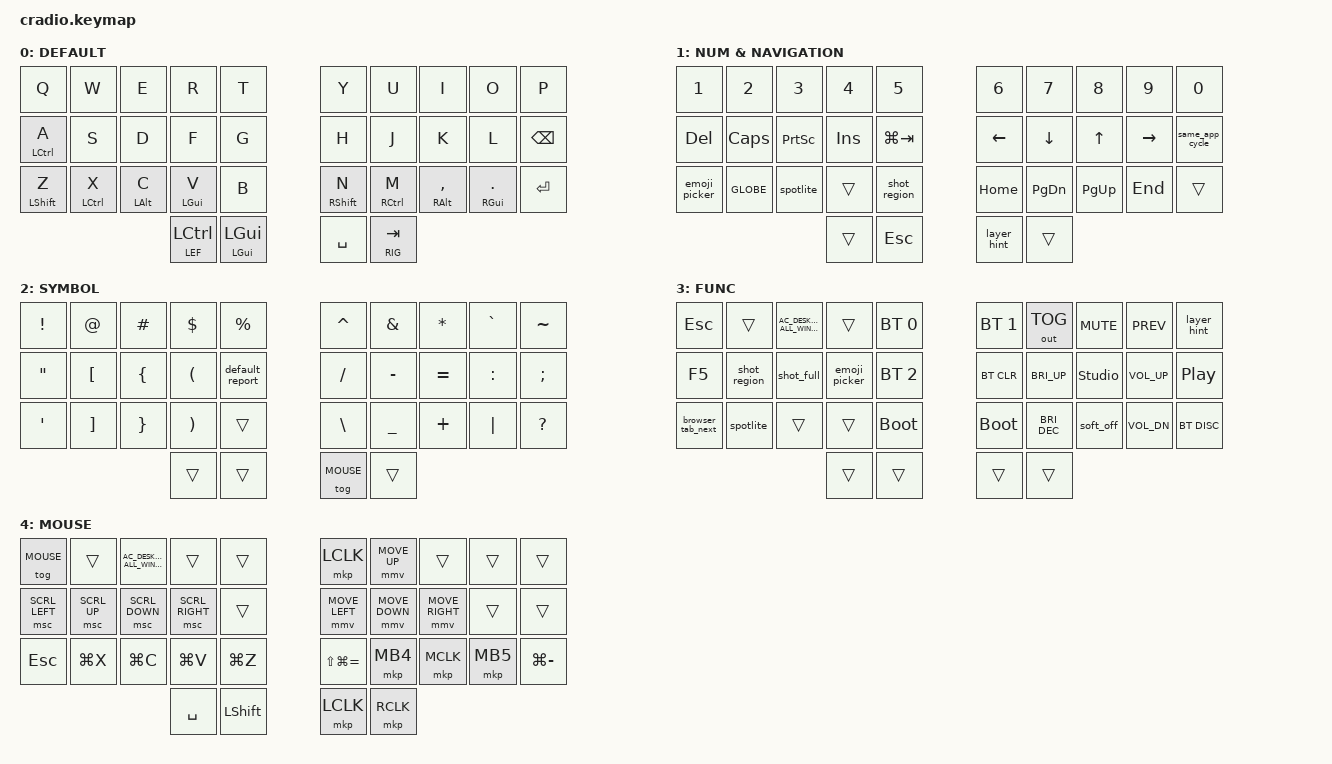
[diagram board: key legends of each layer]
// Copyright (c) 2022 The ZMK Contributors
// SPDX-License-Identifier: MIT

#define ZMK_POINTING_DEFAULT_MOVE_VAL 1000
#define ZMK_POINTING_DEFAULT_SCRL_VAL 20

#include <behaviors.dtsi>
#include "behaviors/character_map.dtsi"
#include "behaviors/send_string.dtsi"
#include "behaviors/report.dtsi"
#include <dt-bindings/zmk/bt.h>
#include <dt-bindings/zmk/keys.h>
#include <dt-bindings/zmk/outputs.h>
#include <dt-bindings/zmk/pointing.h>

#define MAC 0
#define RIG 1
#define LEF 2
#define TRI 3
#define MOUSE 4

// https://zmk.dev/docs/development/hardware-integration/soft-off-setup?advanced-methods=wakeup&kscan-type=dkscan
/ {
    keys {
        compatible = "gpio-keys";
        soft_off_gpio_key: soft_off_gpio_key {
            gpios = <&gpio1 6 (GPIO_ACTIVE_LOW | GPIO_PULL_UP)>;
        };
    };
    wakeup_scan: wakeup_scan {
        compatible = "zmk,kscan-gpio-direct";
        input-keys = <&soft_off_gpio_key>;
        wakeup-source;
    };
    side_band_behavior_triggers: side_band_behavior_triggers {
        compatible = "zmk,kscan-sideband-behaviors";
        kscan = <&wakeup_scan>;
        auto-enable;
        wakeup-source;
    };
    soft_off_wakers {
        compatible = "zmk,soft-off-wakeup-sources";
        wakeup-sources = <&wakeup_scan>;
    };
};

/ {
    vbatt: vbatt {
        compatible = "zmk,battery-nrf-vddh";
    };
    chosen {
        zmk,charmap = &charmap_us;
        zmk,battery = &vbatt;
    };
    behaviors {
        ht: hold_tap {
            display-name = "hold_tap";
            compatible = "zmk,behavior-hold-tap";
            #binding-cells = <2>;
            flavor = "balanced";
            tapping-term-ms = <175>;
            quick-tap-ms = <140>;
            bindings = <&kp>, <&kp>;
        };
        ht_tp: hold_tap_tap_pref {
            display-name = "hold_tap_tap_pref";
            compatible = "zmk,behavior-hold-tap";
            #binding-cells = <2>;
            flavor = "tap-unless-interrupted";
            tapping-term-ms = <90>;
            quick-tap-ms = <75>;
            bindings = <&kp>, <&kp>;
        };
        ltt: layer_tab_thumb {
            compatible = "zmk,behavior-hold-tap";
            #binding-cells = <2>;
            flavor = "tap-preferred";
            tapping-term-ms = <95>;
            quick-tap-ms = <80>;
            bindings = <&mo>, <&kp>;
        };
        ltt_rig: layer_tab_thumb_right {
            compatible = "zmk,behavior-hold-tap";
            #binding-cells = <2>;
            flavor = "balanced";
            tapping-term-ms = <190>;
            quick-tap-ms = <130>;
            bindings = <&mo>, <&kp>;
        };
        shot_full: shot_full {
            compatible = "zmk,behavior-macro";
            #binding-cells = <0>;
            wait-ms = <5>;
            tap-ms = <5>;
            bindings = <&macro_press &kp LSHIFT &macro_press &kp LGUI &macro_tap &kp N3 &macro_release &kp LGUI &macro_release &kp LSHIFT>;
        };
        shot_region: shot_region {
            compatible = "zmk,behavior-macro";
            #binding-cells = <0>;
            wait-ms = <5>;
            tap-ms = <5>;
            bindings = <&macro_press &kp LSHIFT &macro_press &kp LGUI &macro_tap &kp N4 &macro_release &kp LGUI &macro_release &kp LSHIFT>;
        };
        spotlite: spotlite {
            compatible = "zmk,behavior-macro";
            #binding-cells = <0>;
            wait-ms = <5>;
            tap-ms = <5>;
            bindings = <&macro_press &kp LGUI &macro_tap &kp SPACE &macro_release &kp LGUI>;
        };
        emoji_picker: emoji_picker {
            compatible = "zmk,behavior-macro";
            #binding-cells = <0>;
            wait-ms = <5>;
            tap-ms = <5>;
            bindings = <&macro_press &kp LCTRL &macro_press &kp LGUI &macro_tap &kp SPACE &macro_release &kp LGUI &macro_release &kp LCTRL>;
        };
        browser_tab_next: browser_tab_next {
            compatible = "zmk,behavior-macro";
            #binding-cells = <0>;
            wait-ms = <5>;
            tap-ms = <5>;
            bindings = <&macro_press &kp LCTRL &macro_tap &kp TAB &macro_release &kp LCTRL>;
        };
        same_app_cycle: same_app_cycle {
            compatible = "zmk,behavior-macro";
            #binding-cells = <0>;
            wait-ms = <5>;
            tap-ms = <5>;
            bindings = <&macro_press &kp LGUI &macro_tap &kp GRAVE &macro_release &kp LGUI>;
        };
        layer_hint: layer_hint {
            compatible = "zmk,behavior-macro";
            #binding-cells = <0>;
            wait-ms = <5>;
            tap-ms = <5>;
            bindings = <&macro_press &kp LCTRL &macro_press &kp LALT &macro_tap &kp H &macro_release &kp LALT &macro_release &kp LCTRL>;
        };
        mmv {
            acceleration-exponent = <0>;
            time-to-max-speed-ms = <380>;
            delay-ms = <0>;
        };
        msc {
            acceleration-exponent = <1>;
            time-to-max-speed-ms = <280>;
            delay-ms = <0>;
        };
    };

    conditional_layers {
        compatible = "zmk,conditional-layers";

        tri_layer {
            if-layers = <LEF RIG>;
            then-layer = <TRI>;
        };
    };

    /* FUNC/tri: outer thumbs 15+32 (Tab/LEF + Tab/RIG). Inner thumbs are separate LGUI and SPACE — they do not participate in LEF+RIG stacking. */
    combos {
        compatible = "zmk,combos";

        tri_outer_thumbs {
            timeout-ms = <180>;
            key-positions = <15 32>;
            bindings = <&mo 3>;
            layers = <0>;
        };
    };

    /*
     * layer_hint sends Ctrl+Alt+H. ZMK cannot draw on screen; pair with macOS Shortcuts:
     * Shortcuts app -> new shortcut -> Open File or Show Notification -> assign shortcut Ctrl+Alt+H.
     * Or use ZMK Studio (&studio_unlock) for an interactive map from the firmware side.
     */

    keymap {
        compatible = "zmk,keymap";

        default_layer {
            display-name = "DEFAULT";
             /*
             *   Q      W      E      R      T  |  Y      U      I      O      P
             *   A(Ctrl) S      D      F      G  |  H      J      K      L      BSPC
             *   Z(Sh) X(Ctrl) C(Opt) V(Cmd) B  |  N(Sh) M(C) ,(A) .(Cmd) ENT
             *   thumb: LCTRL(SYM)  Cmd  Space  TAB(NUM)
             */
            bindings = <
                &kp Q          &kp W          &kp E          &kp R          &kp T          &kp Y          &kp U          &kp I          &kp O          &kp P
                &ht LCTRL A &kp S          &kp D          &kp F          &kp G          &kp H          &kp J          &kp K          &kp L          &kp BSPC
                &ht LSHIFT Z &ht LCTRL X &ht LALT C &ht LGUI V &kp B          &ht RSHIFT N &ht RCTRL M &ht RALT COMMA &ht RGUI DOT &kp ENTER
                &ltt LEF LCTRL   &ht_tp LGUI LGUI &kp SPACE      &ltt_rig RIG TAB
            >;
        };

        right_layer {
            display-name = "NUM & NAVIGATION";
             /*
             *   1      2      3      4      5  |  6      7      8      9      0
             *   DEL    CAPS   PSCR   INS   AppSw |  LEFT   DOWN   UP    RIGHT  CmdGrv
             *   Emoji  Globe  Spot   Missn  Shot  |  HOME   PGDN   PGUP   END    -
             *   thumb: -      ESC   Hint  -      |  (BOOT only on FUNC tri: B/N)
             */
            bindings = <
                &kp N1         &kp N2         &kp N3         &kp N4         &kp N5         &kp N6         &kp N7         &kp N8         &kp N9         &kp N0
                &kp DEL        &kp CAPS       &kp PSCRN      &kp INS        &kp LG(TAB)    &kp LEFT       &kp DOWN       &kp UP         &kp RIGHT      &same_app_cycle
                &emoji_picker  &kp GLOBE      &spotlite      &trans &shot_region   &kp HOME       &kp PG_DN      &kp PG_UP      &kp END        &trans
                &trans         &kp ESC        &layer_hint    &trans
            >;
        };

        left_layer {
            display-name = "SYMBOL";
             /*
             *   !      @      #      $      %  |  ^      &      *      `      ~
             *   "      [      {      (    RPT  |  /      -      =      :      ;
             *   '      ]      }      )     -   |  \      _      +      |      ?
             *   thumb: -   -   MOUSE  -        |  (BOOT only on FUNC tri: B/N)
             */
            bindings = <
                &kp EXCL       &kp AT         &kp HASH       &kp DLLR       &kp PRCNT      &kp CARET      &kp AMPS       &kp ASTRK      &kp GRAVE      &kp TILDE
                &kp DQT        &kp LBKT       &kp LBRC       &kp LPAR       &default_report &kp FSLH       &kp MINUS      &kp EQUAL      &kp COLON      &kp SEMI
                &kp SQT        &kp RBKT       &kp RBRC       &kp RPAR       &trans         &kp BSLH       &kp UNDER      &kp PLUS       &kp PIPE       &kp QMARK
                &trans         &trans         &tog MOUSE     &trans
            >;
        };

        tri_layer {
            display-name = "FUNC";
             /*
             *   ESC    -      Missn  -      BT0  |  BT1    OUT    MUTE   PREV   Hint
             *   VO     Shot4  Shot3  Emoji  BT2  |  BTCLR  BRI+   Studio VOL+   Play
             *   TabBr  Spot   -      -      -    |  -      BRI-   OFF    VOL-   BTdisc
             *   thumb: -      -   -   -          |  BOOT: hold FUNC then B=left MCU  N=right MCU
             */
            bindings = <
                &kp ESC        &trans         &kp C_AC_DESKTOP_SHOW_ALL_WINDOWS &trans         &bt BT_SEL 0   &bt BT_SEL 1   &out OUT_TOG   &kp C_MUTE     &kp C_PREV     &layer_hint
                &kp F5         &shot_region   &shot_full     &emoji_picker  &bt BT_SEL 2   &bt BT_CLR     &kp C_BRI_UP   &studio_unlock &kp C_VOL_UP   &kp C_PP
                &browser_tab_next &spotlite   &trans         &trans         &bootloader    &bootloader    &kp C_BRI_DEC  &soft_off      &kp C_VOL_DN   &bt BT_DISC
                &trans         &trans         &trans         &trans
            >;
        };

        mouse {
            display-name = "MOUSE";
             /*
             *   MO     -      Desk   -      -    |  LCLK   MoveU  -      -      -
             *   ScrL   ScrU   ScrD   ScrR   -    |  MoveL  MoveD  MoveR  -      -
             *   ESC    Cut    Copy   Past   Undo |  Zm+    MB4    MCLK   MB5    Zm-
             */
            bindings = <
                &tog MOUSE     &trans         &kp C_AC_DESKTOP_SHOW_ALL_WINDOWS &trans         &trans         &mkp LCLK         &mmv MOVE_UP   &trans         &trans         &trans
                &msc SCRL_LEFT &msc SCRL_UP   &msc SCRL_DOWN &msc SCRL_RIGHT &trans       &mmv MOVE_LEFT &mmv MOVE_DOWN &mmv MOVE_RIGHT &trans &trans
                &kp ESC        &kp LG(X)      &kp LG(C)      &kp LG(V)      &kp LG(Z)      &kp LS(LG(EQUAL)) &mkp MB4 &mkp MCLK &mkp MB5 &kp LG(MINUS)
                &kp SPACE      &kp LSHIFT     &mkp LCLK      &mkp RCLK
            >;
        };
    };
};
